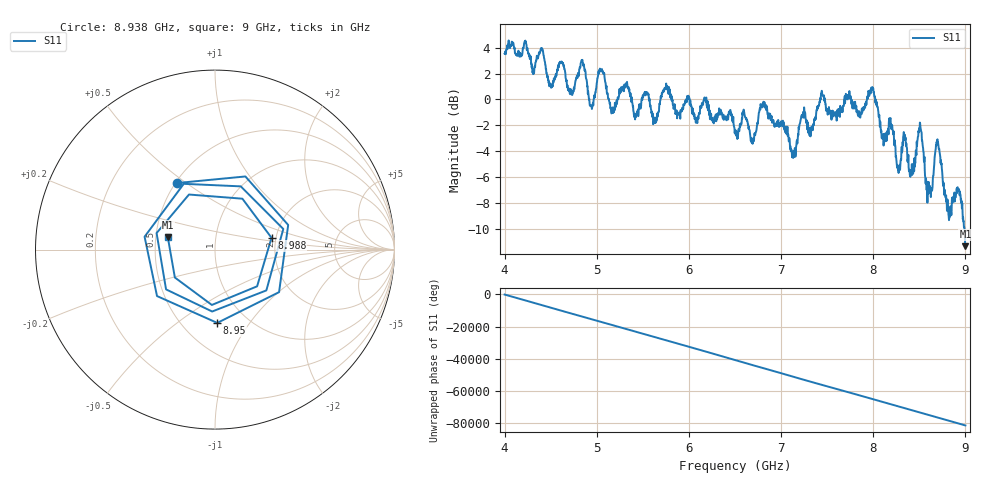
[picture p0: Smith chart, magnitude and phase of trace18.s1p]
! Created with skrf 1.8.0 (http://scikit-rf.org).
# Hz S RI R 50.0
!freq ReS11 ImS11
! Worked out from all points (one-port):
!   1601 points, 4 GHz to 9 GHz, reference 50 ohm
!   lowest |S11| = -11.3 dB at 9 GHz (marker M1), VSWR 1.75, Z = 28.9 + j4.3 ohm
!   |S11| at or under -10 dB: 8.989561 GHz to end of sweep
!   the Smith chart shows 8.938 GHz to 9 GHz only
!   S11 on the Smith chart (normalised r, x): 8.938 GHz: 0.51, +0.46; 8.95 GHz: 0.73, -0.72; 8.988 GHz: 1.89, +0.28; 9 GHz: 0.58, +0.09
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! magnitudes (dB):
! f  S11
! 4 GHz  3.5
! 4.4 GHz  3.8
! 4.503 GHz  0.9
! 4.625 GHz  2.9
! 4.722 GHz  0.6
! 4.85 GHz  2.8
! 4.941 GHz  -0.5
! 5.044 GHz  2.2
! 5.162 GHz  -1.1
! 5.25 GHz  0.5
! 5.875 GHz  -1.1
! 6.5 GHz  -2.4
! 6.694 GHz  -3.3
! 6.822 GHz  -0.2
! 7.125 GHz  -4.1
! 7.441 GHz  0.7
! 7.75 GHz  0.3
! 7.991 GHz  1.0
! 8.269 GHz  -5.4
! 8.375 GHz  -4.6
! 8.506 GHz  -1.8
! 8.6 GHz  -7.3
! 8.697 GHz  -3.1
! 8.825 GHz  -9.2
! 8.938 GHz  -7.4
! 8.95 GHz  -7.8
! 8.988 GHz  -9.9
! 9 GHz  -11.3
